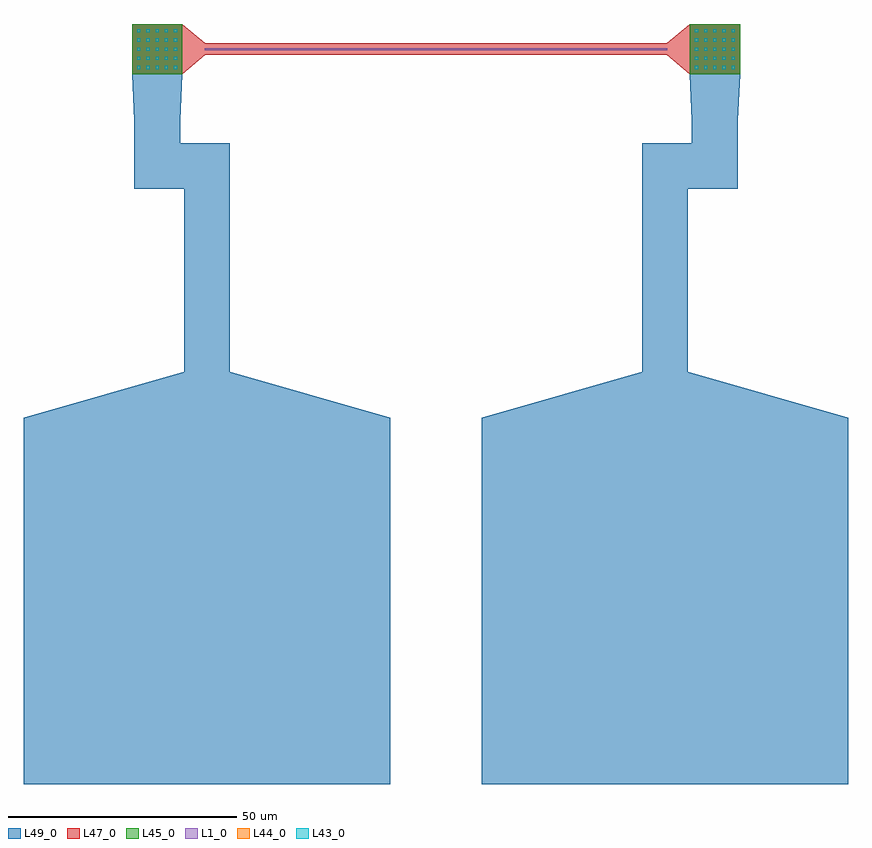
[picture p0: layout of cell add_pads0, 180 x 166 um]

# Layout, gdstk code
from math import pi, radians
import gdstk
lib = gdstk.Library(unit=1e-6, precision=1e-09)
def R(c, l, rs):  # rectangles x0, y0, x1, y1
    for r in rs: c.add(gdstk.rectangle(r[:2], r[2:], *l))
def A(c, l, x, y, w, h, nx, ny, dx, dy):  # array of equal rectangles
    R(c, l, [(x+i*dx, y+j*dy, x+i*dx+w, y+j*dy+h) for i in range(nx) for j in range(ny)])
def P(c, l, *ps):  # polygons
    for p in ps: c.add(gdstk.Polygon(p, *l))
L1_0 = (1, 0)
L43_0 = (43, 0)
L44_0 = (44, 0)
L45_0 = (45, 0)
L47_0 = (47, 0)
L49_0 = (49, 0)

straight_heater_metal_un = lib.new_cell('straight_heater_metal_undercut_gdsfactorypcomponentspwa_f3bdbbe8')
R(straight_heater_metal_un, L1_0, [(0,-0.25,101,0.25)])
A(straight_heater_metal_un, L43_0, -14.75, -4.35, 0.7, 0.7, 5, 5, 2, 2)
A(straight_heater_metal_un, L43_0, 107.05, -4.35, 0.7, 0.7, 5, 5, 2, 2)
A(straight_heater_metal_un, L44_0, -14.75, -4.35, 0.7, 0.7, 5, 5, 2, 2)
A(straight_heater_metal_un, L44_0, 107.05, -4.35, 0.7, 0.7, 5, 5, 2, 2)
R(straight_heater_metal_un, L45_0, [(-15.9,-5.5,-4.9,5.5), (105.9,-5.5,116.9,5.5)])
P(straight_heater_metal_un, L47_0, [(-15.9,-5.5),(-15.9,5.5),(-4.9,5.5),(0.1,1.25),(100.9,1.25),(105.9,5.5),(116.9,5.5),(116.9,-5.5),(105.9,-5.5),(100.9,-1.25),(0.1,-1.25),(-4.9,-5.5)])
R(straight_heater_metal_un, L49_0, [(-15.9,-5.5,-4.9,5.5), (105.9,-5.5,116.9,5.5)])

pad_gdsfactorypcomponent = lib.new_cell('pad_gdsfactorypcomponentsppadsppad_Spad_size_LMTOP_BLNo_e43d6fec')
R(pad_gdsfactorypcomponent, L49_0, [(-40,-40,40,40)])

taper_gdsfactorypcompone = lib.new_cell('taper_gdsfactorypcomponentsptapersptaper_L10_W11_W10_LN_30da7aae')
P(taper_gdsfactorypcompone, L49_0, [(0,-5.5),(0,5.5),(10,5),(10,-5)])

c_taper_gdsfactorypcompone = lib.new_cell('taper_gdsfactorypcomponentsptapersptaper_L10_W80_W10_LN_d7c6bdbc')
P(c_taper_gdsfactorypcompone, L49_0, [(0,-40),(0,40),(10,5),(10,-5)])

wire_corner_gdsfactorypc = lib.new_cell('wire_corner_gdsfactorypcomponentspwaveguidespwire_CSmet_4db3826e')
R(wire_corner_gdsfactorypc, L49_0, [(-5,-5,5,5)])

straight_gdsfactorypcomp = lib.new_cell('straight_gdsfactorypcomponentspwaveguidespstraight_L5_N_cac2141a')
R(straight_gdsfactorypcomp, L49_0, [(0,-5,5,5)])

c_straight_gdsfactorypcomp = lib.new_cell('straight_gdsfactorypcomponentspwaveguidespstraight_L0p9_a735c07c')
R(c_straight_gdsfactorypcomp, L49_0, [(0,-5,0.9,5)])

c_straight_gdsfactorypcomp_ = lib.new_cell('straight_gdsfactorypcomponentspwaveguidespstraight_L40__edfd6136')
R(c_straight_gdsfactorypcomp_, L49_0, [(0,-5,40,5)])

add_pads0 = lib.new_cell('add_pads0')
add_pads0.add(gdstk.Reference(straight_heater_metal_un, (0,0)))
add_pads0.add(gdstk.Reference(pad_gdsfactorypcomponent, (0.5,-120.5), rotation=3*pi/2))
add_pads0.add(gdstk.Reference(pad_gdsfactorypcomponent, (100.5,-120.5), rotation=3*pi/2))
add_pads0.add(gdstk.Reference(taper_gdsfactorypcompone, (-10.4,-5.5), rotation=3*pi/2))
add_pads0.add(gdstk.Reference(taper_gdsfactorypcompone, (111.4,-5.5), rotation=3*pi/2))
add_pads0.add(gdstk.Reference(c_taper_gdsfactorypcompone, (0.5,-80.5), rotation=pi/2))
add_pads0.add(gdstk.Reference(c_taper_gdsfactorypcompone, (100.5,-80.5), rotation=pi/2))
add_pads0.add(gdstk.Reference(straight_heater_metal_un, (0,0)))
add_pads0.add(gdstk.Reference(wire_corner_gdsfactorypc, (-10.4,-25.5), rotation=pi, x_reflection=True))
add_pads0.add(gdstk.Reference(straight_gdsfactorypcomp, (-10.4,-15.5), rotation=3*pi/2))
add_pads0.add(gdstk.Reference(wire_corner_gdsfactorypc, (0.5,-25.5), rotation=pi/2))
add_pads0.add(gdstk.Reference(c_straight_gdsfactorypcomp, (-5.4,-25.5)))
add_pads0.add(gdstk.Reference(c_straight_gdsfactorypcomp_, (0.5,-30.5), rotation=3*pi/2))
add_pads0.add(gdstk.Reference(wire_corner_gdsfactorypc, (111.4,-25.5)))
add_pads0.add(gdstk.Reference(straight_gdsfactorypcomp, (111.4,-15.5), rotation=3*pi/2))
add_pads0.add(gdstk.Reference(wire_corner_gdsfactorypc, (100.5,-25.5), rotation=pi/2, x_reflection=True))
add_pads0.add(gdstk.Reference(c_straight_gdsfactorypcomp, (106.4,-25.5), rotation=pi))
add_pads0.add(gdstk.Reference(c_straight_gdsfactorypcomp_, (100.5,-30.5), rotation=3*pi/2))

lib.write_gds('add_pads0.gds')
